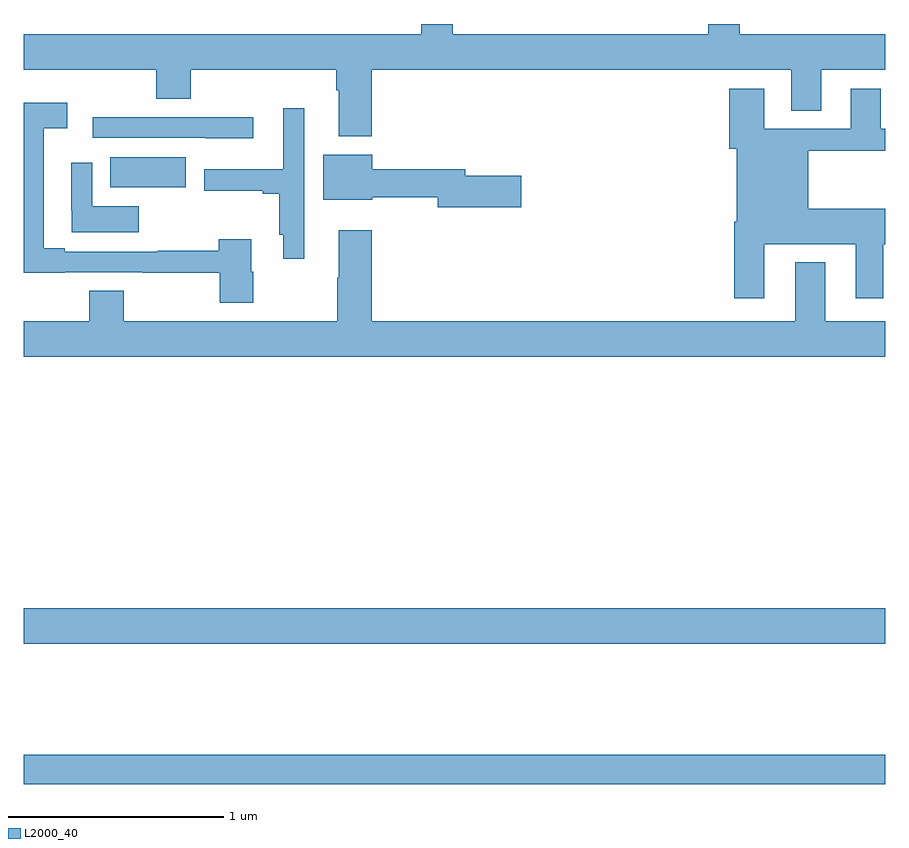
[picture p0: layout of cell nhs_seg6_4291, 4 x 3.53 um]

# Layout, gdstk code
import gdstk
lib = gdstk.Library(unit=1e-6, precision=1e-09)
def R(c, l, rs):  # rectangles x0, y0, x1, y1
    for r in rs: c.add(gdstk.rectangle(r[:2], r[2:], *l))
def P(c, l, *ps):  # polygons
    for p in ps: c.add(gdstk.Polygon(p, *l))
L2000_40 = (2000, 40)

nhs_seg6_4291 = lib.new_cell('nhs_seg6_4291')
R(nhs_seg6_4291, L2000_40, [(363,991.972,367,992.108), (363,992.624,367,992.788), (363.403,994.742,363.753,994.882)])
P(nhs_seg6_4291, L2000_40, [(363,995.288),(363.616,995.288),(363.616,995.152),(363.776,995.152),(363.776,995.288),(364.451,995.288),(364.451,995.192),(364.463,995.192),(364.463,994.979),(364.616,994.979),(364.616,995.288),(366.563,995.288),(366.563,995.098),(366.703,995.098),(366.703,995.288),(367,995.288),(367,995.452),(366.325,995.452),(366.325,995.5),(366.178,995.5),(366.178,995.452),(364.993,995.452),(364.993,995.5),(364.846,995.5),(364.846,995.452),(363,995.452)],
  [(366.439,994.478),(366.863,994.478),(366.863,994.227),(366.991,994.227),(366.991,994.478),(367,994.478),(367,994.642),(366.643,994.642),(366.643,994.912),(367,994.912),(367,995.013),(366.979,995.013),(366.979,995.2),(366.839,995.2),(366.839,995.013),(366.439,995.013),(366.439,995.2),(366.275,995.2),(366.275,994.92),(366.311,994.92),(366.311,994.582),(366.299,994.582),(366.299,994.227),(366.439,994.227)],
  [(364.065,994.35),(364.057,994.35),(364.057,994.501),(363.905,994.501),(363.905,994.448),(363.622,994.448),(363.622,994.443),(363.19,994.443),(363.19,994.459),(363.094,994.459),(363.094,995.017),(363.202,995.017),(363.202,995.134),(363,995.134),(363,994.345),(363.19,994.345),(363.19,994.347),(363.553,994.347),(363.553,994.345),(363.91,994.345),(363.91,994.206),(364.065,994.206)],
  [(364.303,994.631),(364.302,994.631),(364.302,995.11),(364.205,995.11),(364.205,994.825),(363.838,994.825),(363.838,994.726),(364.109,994.726),(364.109,994.712),(364.186,994.712),(364.186,994.522),(364.205,994.522),(364.205,994.41),(364.303,994.41)],
  [(364.066,995.067),(363.321,995.067),(363.321,994.971),(363.846,994.971),(363.846,994.97),(364.066,994.97)],
  [(365.311,994.796),(365.05,994.796),(365.05,994.825),(364.618,994.825),(364.618,994.894),(364.391,994.894),(364.391,994.685),(364.618,994.685),(364.618,994.696),(364.922,994.696),(364.922,994.649),(365.311,994.649)],
  [(363.535,994.654),(363.318,994.654),(363.318,994.855),(363.222,994.855),(363.222,994.636),(363.223,994.636),(363.223,994.533),(363.535,994.533)],
  [(367,994.12),(366.721,994.12),(366.721,994.393),(366.581,994.393),(366.581,994.12),(364.616,994.12),(364.616,994.543),(364.463,994.543),(364.463,994.322),(364.456,994.322),(364.456,994.12),(363.465,994.12),(363.465,994.262),(363.305,994.262),(363.305,994.12),(363,994.12),(363,993.956),(367,993.956)])

lib.write_gds('nhs_seg6_4291.gds')
